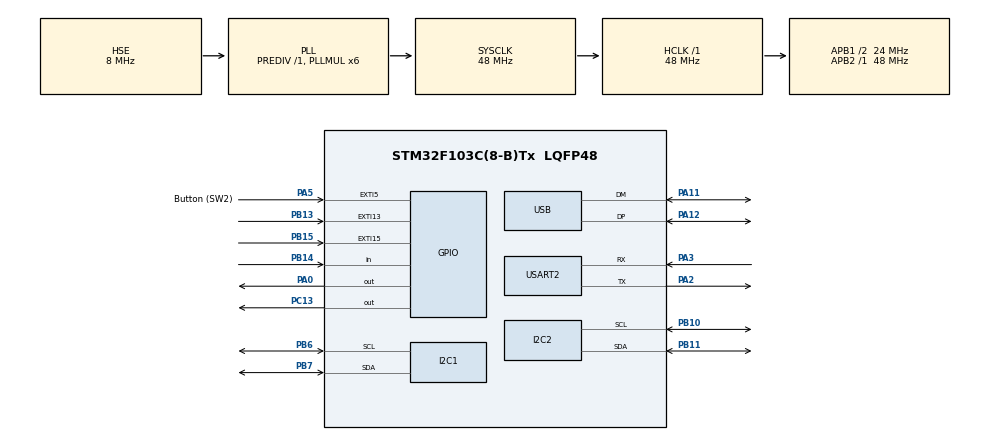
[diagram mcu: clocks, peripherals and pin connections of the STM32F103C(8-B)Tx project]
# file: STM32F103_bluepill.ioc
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Mcu.Family=STM32F1
Mcu.Name=STM32F103C(8-B)Tx
Mcu.Package=LQFP48
NVIC.EXTI15_10_IRQn=true\:0\:0\:false\:false\:true\:true\:true\:true
NVIC.EXTI9_5_IRQn=true\:0\:0\:false\:false\:true\:true\:true\:true
NVIC.PriorityGroup=NVIC_PRIORITYGROUP_4
NVIC.TIM2_IRQn=true\:0\:0\:false\:false\:true\:true\:true\:true
NVIC.TIM3_IRQn=true\:0\:0\:false\:false\:true\:true\:true\:true
NVIC.USB_LP_CAN1_RX0_IRQn=true\:0\:0\:false\:false\:true\:false\:true\:true
PA0-WKUP.Signal=GPIO_Output
PA11.Mode=Device
PA11.Signal=USB_DM
PA12.Mode=Device
PA12.Signal=USB_DP
PA2.Mode=Asynchronous
PA2.Signal=USART2_TX
PA3.Mode=Asynchronous
PA3.Signal=USART2_RX
PA5.GPIO_Label=Button (SW2)
PA5.GPIO_ModeDefaultEXTI=GPIO_MODE_IT_FALLING
PA5.Signal=GPXTI5
PB10.Mode=I2C
PB10.Signal=I2C2_SCL
PB11.Mode=I2C
PB11.Signal=I2C2_SDA
PB13.Signal=GPXTI13
PB14.Signal=GPIO_Input
PB15.Signal=GPXTI15
PB6.Mode=I2C
PB6.Signal=I2C1_SCL
PB7.Mode=I2C
PB7.Signal=I2C1_SDA
PC13-TAMPER-RTC.Signal=GPIO_Output
PD0-OSC_IN.Mode=HSE-External-Oscillator
PD0-OSC_IN.Signal=RCC_OSC_IN
PD1-OSC_OUT.Mode=HSE-External-Oscillator
PD1-OSC_OUT.Signal=RCC_OSC_OUT
ProjectManager.HeapSize=0x200
ProjectManager.StackSize=0x400
ProjectManager.TargetToolchain=STM32CubeIDE
RCC.AHBFreq_Value=48000000
RCC.APB1CLKDivider=RCC_HCLK_DIV2
RCC.APB1Freq_Value=24000000
RCC.APB1TimFreq_Value=48000000
RCC.APB2Freq_Value=48000000
RCC.APB2TimFreq_Value=48000000
RCC.HCLKFreq_Value=48000000
RCC.PLLMUL=RCC_PLL_MUL6
RCC.PLLSourceVirtual=RCC_PLLSOURCE_HSE
RCC.SYSCLKFreq_VALUE=48000000
RCC.SYSCLKSource=RCC_SYSCLKSOURCE_PLLCLK
RCC.USBFreq_Value=48000000
TIM2.AutoReloadPreload=TIM_AUTORELOAD_PRELOAD_ENABLE
TIM2.Period=1000
TIM2.Prescaler=24000
TIM3.AutoReloadPreload=TIM_AUTORELOAD_PRELOAD_ENABLE
TIM3.Period=10000
TIM3.Prescaler=47994
USART2.VirtualMode=VM_ASYNC
USB_DEVICE.CLASS_NAME_FS=CDC
USB_DEVICE.VirtualMode=Cdc
USB_DEVICE.VirtualModeFS=Cdc_FS
VP_SYS_VS_ND.Mode=No_Debug
VP_TIM2_VS_ClockSourceINT.Mode=Internal
VP_TIM3_VS_ClockSourceINT.Mode=Internal
VP_USB_DEVICE_VS_USB_DEVICE_CDC_FS.Mode=CDC_FS
board=custom

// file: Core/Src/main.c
/* USER CODE BEGIN Header */
/**
  ******************************************************************************
  * @file           : main.c
  * @brief          : Main program body
  ******************************************************************************
  * @attention
  *
  * Copyright (c) 2023 STMicroelectronics.
  * All rights reserved.
  *
  * This software is licensed under terms that can be found in the LICENSE file
  * in the root directory of this software component.
  * If no LICENSE file comes with this software, it is provided AS-IS.
  *
  ******************************************************************************
  */
/* USER CODE END Header */
#include "main.h"
#include "usb_device.h"

/* USER CODE BEGIN Includes */
#include "usbd_cdc_if.h"
#include "MK3_configuration.h"
#include "MS5637.h"
#include "ssd1306.h"
#include "custom_UI.h"
#include "calibrate.h"

/* USER CODE END Includes */

I2C_HandleTypeDef hi2c1;
I2C_HandleTypeDef hi2c2;

TIM_HandleTypeDef htim2;
TIM_HandleTypeDef htim3;

UART_HandleTypeDef huart2;

void SystemClock_Config(void);
static void MX_GPIO_Init(void);
static void MX_I2C1_Init(void);
static void MX_USART2_UART_Init(void);
static void MX_I2C2_Init(void);
static void MX_TIM2_Init(void);
static void MX_TIM3_Init(void);

/* USER CODE BEGIN 0 */
enum state current_state = Display;
enum state previous_state = Display;
char graph_title[5] = "DEF:";

uint8_t menu_cursor_placement = 1;
uint8_t D1_RES_INDEX = 0;
uint8_t D2_RES_INDEX = 0;
uint8_t USB_EN = 1;
uint32_t mean_pressure = 0;

/* USER CODE END 0 */

int main(void)
{

  /* MCU Configuration--------------------------------------------------------*/

  /* Reset of all peripherals, Initializes the Flash interface and the Systick. */
  HAL_Init();

  /* Configure the system clock */
  SystemClock_Config();

  /* Initialize all configured peripherals */
  MX_GPIO_Init();
  MX_USB_DEVICE_Init();
  MX_I2C1_Init();
  MX_USART2_UART_Init();
  MX_I2C2_Init();
  MX_TIM2_Init();
  MX_TIM3_Init();
  /* USER CODE BEGIN 2 */
  TIM2->CR1 = 1;

  ssd1306_Init();
  MS5637_SETUP(&hi2c1, 5, 5);

  int32_t pressure;
  int32_t temperature;

  int32_t amb_pressure;
  int32_t amb_temperature;

  pressure = MS5637_GET_PRESSURE(&hi2c1);
  temperature = MS5637_GET_TEMPERATURE(&hi2c1);

  uint32_t OLED_data[2][GRAPH_SIZE];
  setup_std_graph(graph_title);

  for(int8_t i = 0; i < GRAPH_SIZE; i++){
  	  OLED_data[0][i] = i*5;
  	  OLED_data[1][i] = 0;
  	  mean_pressure += MS5637_GET_PRESSURE(&hi2c1);
    }

  mean_pressure = mean_pressure/GRAPH_SIZE;

  /* USER CODE END 2 */

  /* Infinite loop */
  while (1)
  {

    /* USER CODE BEGIN 3 */

	  switch(current_state){
	  	  case Display:
	  		  for(int8_t i = (GRAPH_SIZE-1) ; i > 0 ; i--){
	  			  OLED_data[1][i] = OLED_data[1][i-1];
	  		  	  }
	  		  	  temperature = MS5637_GET_TEMPERATURE(&hi2c1);
	  		  	  pressure = MS5637_GET_PRESSURE(&hi2c1);
	  		  	  //OLED_data[1][0] = ((pressure-GRAPH_VALUE_OFFSET)*(Y_AXIS_LINE_Y2-Y_AXIS_LINE_Y1))/(MAX_PRESSURE-MIN_PRESSURE);
	  		  	  //OLED_data[1][0] = (pressure*(Y_AXIS_LINE_Y2-Y_AXIS_LINE_Y1))/(MAX_PRESSURE-MIN_PRESSURE);
	  		  	  OLED_data[1][0] = pressure-mean_pressure;
	  		  	  update_graph(20, OLED_data, OLED_data[1][0]);///10);

	  		  	  if(USB_EN){

	  		  		  char USB_data[9];
	  		  		  itoa(pressure, USB_data, 10);

	  		  		  USB_data[6] = (char)'\r';
	  		  		  USB_data[7] = (char)'\n';
	  		  		  USB_data[8] = (char)'\0';

	  		  		  CDC_Transmit_FS((uint8_t*)USB_data, sizeof(USB_data));

	  		  	  }

	  		  	break;

	  	  case Send_USB:	//NOTE: Make this shit into a function

	  		  	  MS5637_STREAM_USB(&hi2c1, &hi2c2, D1_RES_INDEX);

	  		  	break;

	  	  case Menu:

	  		  	break;
	  	  case Return_from_menu:	//Updates the mean_pressure of the sensor every time the you exit menu
	  		mean_pressure = 0;
	  	    for(uint8_t i = 0; i < GRAPH_SIZE; i++){
	  	    	mean_pressure += MS5637_GET_PRESSURE(&hi2c1);
	  	    }
	  	    mean_pressure = mean_pressure/GRAPH_SIZE;
	  	    current_state = previous_state;
	  	    	break;

	  }

  }
  /* USER CODE END 3 */
}

void SystemClock_Config(void)
{
  RCC_OscInitTypeDef RCC_OscInitStruct = {0};
  RCC_ClkInitTypeDef RCC_ClkInitStruct = {0};
  RCC_PeriphCLKInitTypeDef PeriphClkInit = {0};

  /** Initializes the RCC Oscillators according to the specified parameters
  * in the RCC_OscInitTypeDef structure.
  */
  RCC_OscInitStruct.OscillatorType = RCC_OSCILLATORTYPE_HSE;
  RCC_OscInitStruct.HSEState = RCC_HSE_ON;
  RCC_OscInitStruct.HSEPredivValue = RCC_HSE_PREDIV_DIV1;
  RCC_OscInitStruct.HSIState = RCC_HSI_ON;
  RCC_OscInitStruct.PLL.PLLState = RCC_PLL_ON;
  RCC_OscInitStruct.PLL.PLLSource = RCC_PLLSOURCE_HSE;
  RCC_OscInitStruct.PLL.PLLMUL = RCC_PLL_MUL6;
  if (HAL_RCC_OscConfig(&RCC_OscInitStruct) != HAL_OK)
  {
    Error_Handler();
  }

  /** Initializes the CPU, AHB and APB buses clocks
  */
  RCC_ClkInitStruct.ClockType = RCC_CLOCKTYPE_HCLK|RCC_CLOCKTYPE_SYSCLK
                              |RCC_CLOCKTYPE_PCLK1|RCC_CLOCKTYPE_PCLK2;
  RCC_ClkInitStruct.SYSCLKSource = RCC_SYSCLKSOURCE_PLLCLK;
  RCC_ClkInitStruct.AHBCLKDivider = RCC_SYSCLK_DIV1;
  RCC_ClkInitStruct.APB1CLKDivider = RCC_HCLK_DIV2;
  RCC_ClkInitStruct.APB2CLKDivider = RCC_HCLK_DIV1;

  if (HAL_RCC_ClockConfig(&RCC_ClkInitStruct, FLASH_LATENCY_1) != HAL_OK)
  {
    Error_Handler();
  }
  PeriphClkInit.PeriphClockSelection = RCC_PERIPHCLK_USB;
  PeriphClkInit.UsbClockSelection = RCC_USBCLKSOURCE_PLL;
  if (HAL_RCCEx_PeriphCLKConfig(&PeriphClkInit) != HAL_OK)
  {
    Error_Handler();
  }
}

static void MX_I2C1_Init(void)
{

  hi2c1.Instance = I2C1;
  hi2c1.Init.ClockSpeed = 100000;
  hi2c1.Init.DutyCycle = I2C_DUTYCYCLE_2;
  hi2c1.Init.OwnAddress1 = 0;
  hi2c1.Init.AddressingMode = I2C_ADDRESSINGMODE_7BIT;
  hi2c1.Init.DualAddressMode = I2C_DUALADDRESS_DISABLE;
  hi2c1.Init.OwnAddress2 = 0;
  hi2c1.Init.GeneralCallMode = I2C_GENERALCALL_DISABLE;
  hi2c1.Init.NoStretchMode = I2C_NOSTRETCH_DISABLE;
  if (HAL_I2C_Init(&hi2c1) != HAL_OK)
  {
    Error_Handler();
  }

}

static void MX_I2C2_Init(void)
{

  hi2c2.Instance = I2C2;
  hi2c2.Init.ClockSpeed = 100000;
  hi2c2.Init.DutyCycle = I2C_DUTYCYCLE_2;
  hi2c2.Init.OwnAddress1 = 0;
  hi2c2.Init.AddressingMode = I2C_ADDRESSINGMODE_7BIT;
  hi2c2.Init.DualAddressMode = I2C_DUALADDRESS_DISABLE;
  hi2c2.Init.OwnAddress2 = 0;
  hi2c2.Init.GeneralCallMode = I2C_GENERALCALL_DISABLE;
  hi2c2.Init.NoStretchMode = I2C_NOSTRETCH_DISABLE;
  if (HAL_I2C_Init(&hi2c2) != HAL_OK)
  {
    Error_Handler();
  }

}

static void MX_TIM2_Init(void)
{

  TIM_ClockConfigTypeDef sClockSourceConfig = {0};
  TIM_MasterConfigTypeDef sMasterConfig = {0};

  htim2.Instance = TIM2;
  htim2.Init.Prescaler = 24000;
  htim2.Init.CounterMode = TIM_COUNTERMODE_UP;
  htim2.Init.Period = 1000;
  htim2.Init.ClockDivision = TIM_CLOCKDIVISION_DIV1;
  htim2.Init.AutoReloadPreload = TIM_AUTORELOAD_PRELOAD_ENABLE;
  if (HAL_TIM_Base_Init(&htim2) != HAL_OK)
  {
    Error_Handler();
  }
  sClockSourceConfig.ClockSource = TIM_CLOCKSOURCE_INTERNAL;
  if (HAL_TIM_ConfigClockSource(&htim2, &sClockSourceConfig) != HAL_OK)
  {
    Error_Handler();
  }
  sMasterConfig.MasterOutputTrigger = TIM_TRGO_RESET;
  sMasterConfig.MasterSlaveMode = TIM_MASTERSLAVEMODE_DISABLE;
  if (HAL_TIMEx_MasterConfigSynchronization(&htim2, &sMasterConfig) != HAL_OK)
  {
    Error_Handler();
  }

}

static void MX_TIM3_Init(void)
{

  TIM_ClockConfigTypeDef sClockSourceConfig = {0};
  TIM_MasterConfigTypeDef sMasterConfig = {0};

  htim3.Instance = TIM3;
  htim3.Init.Prescaler = 47994;
  htim3.Init.CounterMode = TIM_COUNTERMODE_UP;
  htim3.Init.Period = 10000;
  htim3.Init.ClockDivision = TIM_CLOCKDIVISION_DIV1;
  htim3.Init.AutoReloadPreload = TIM_AUTORELOAD_PRELOAD_ENABLE;
  if (HAL_TIM_Base_Init(&htim3) != HAL_OK)
  {
    Error_Handler();
  }
  sClockSourceConfig.ClockSource = TIM_CLOCKSOURCE_INTERNAL;
  if (HAL_TIM_ConfigClockSource(&htim3, &sClockSourceConfig) != HAL_OK)
  {
    Error_Handler();
  }
  sMasterConfig.MasterOutputTrigger = TIM_TRGO_RESET;
  sMasterConfig.MasterSlaveMode = TIM_MASTERSLAVEMODE_DISABLE;
  if (HAL_TIMEx_MasterConfigSynchronization(&htim3, &sMasterConfig) != HAL_OK)
  {
    Error_Handler();
  }

}

static void MX_USART2_UART_Init(void)
{

  huart2.Instance = USART2;
  huart2.Init.BaudRate = 115200;
  huart2.Init.WordLength = UART_WORDLENGTH_8B;
  huart2.Init.StopBits = UART_STOPBITS_1;
  huart2.Init.Parity = UART_PARITY_NONE;
  huart2.Init.Mode = UART_MODE_TX_RX;
  huart2.Init.HwFlowCtl = UART_HWCONTROL_NONE;
  huart2.Init.OverSampling = UART_OVERSAMPLING_16;
  if (HAL_UART_Init(&huart2) != HAL_OK)
  {
    Error_Handler();
  }

}

static void MX_GPIO_Init(void)
{
  GPIO_InitTypeDef GPIO_InitStruct = {0};

  /* GPIO Ports Clock Enable */
  __HAL_RCC_GPIOC_CLK_ENABLE();
  __HAL_RCC_GPIOD_CLK_ENABLE();
  __HAL_RCC_GPIOA_CLK_ENABLE();
  __HAL_RCC_GPIOB_CLK_ENABLE();

  /*Configure GPIO pin Output Level */
  HAL_GPIO_WritePin(GPIOC, GPIO_PIN_13, GPIO_PIN_RESET);

  /*Configure GPIO pin Output Level */
  HAL_GPIO_WritePin(GPIOA, GPIO_PIN_0, GPIO_PIN_RESET);

  /*Configure GPIO pin : PC13 */
  GPIO_InitStruct.Pin = GPIO_PIN_13;
  GPIO_InitStruct.Mode = GPIO_MODE_OUTPUT_PP;
  GPIO_InitStruct.Pull = GPIO_NOPULL;
  GPIO_InitStruct.Speed = GPIO_SPEED_FREQ_LOW;
  HAL_GPIO_Init(GPIOC, &GPIO_InitStruct);

  /*Configure GPIO pin : PA0 */
  GPIO_InitStruct.Pin = GPIO_PIN_0;
  GPIO_InitStruct.Mode = GPIO_MODE_OUTPUT_PP;
  GPIO_InitStruct.Pull = GPIO_NOPULL;
  GPIO_InitStruct.Speed = GPIO_SPEED_FREQ_LOW;
  HAL_GPIO_Init(GPIOA, &GPIO_InitStruct);

  /*Configure GPIO pin : Button_Pin */
  GPIO_InitStruct.Pin = Button_Pin;
  GPIO_InitStruct.Mode = GPIO_MODE_IT_FALLING;
  GPIO_InitStruct.Pull = GPIO_NOPULL;
  HAL_GPIO_Init(Button_GPIO_Port, &GPIO_InitStruct);

  /*Configure GPIO pins : PB13 PB15 */
  GPIO_InitStruct.Pin = GPIO_PIN_13|GPIO_PIN_15;
  GPIO_InitStruct.Mode = GPIO_MODE_IT_RISING;
  GPIO_InitStruct.Pull = GPIO_NOPULL;
  HAL_GPIO_Init(GPIOB, &GPIO_InitStruct);

  /*Configure GPIO pin : PB14 */
  GPIO_InitStruct.Pin = GPIO_PIN_14;
  GPIO_InitStruct.Mode = GPIO_MODE_INPUT;
  GPIO_InitStruct.Pull = GPIO_NOPULL;
  HAL_GPIO_Init(GPIOB, &GPIO_InitStruct);

  /* EXTI interrupt init*/
  HAL_NVIC_SetPriority(EXTI9_5_IRQn, 0, 0);
  HAL_NVIC_EnableIRQ(EXTI9_5_IRQn);

  HAL_NVIC_SetPriority(EXTI15_10_IRQn, 0, 0);
  HAL_NVIC_EnableIRQ(EXTI15_10_IRQn);

}

/* USER CODE BEGIN 4 */

// EXTI Line9 External Interrupt ISR Handler CallBackFun
void HAL_GPIO_EXTI_Callback(uint16_t GPIO_Pin)
{
    if(GPIO_Pin == GPIO_PIN_5 && current_state != Menu){ // If The INT Source Is EXTI Line5 (A5 Pin)
    	previous_state = current_state;
    	setup_menu();
    	current_state = Menu;
    } else if(GPIO_Pin == GPIO_PIN_5 && previous_state == Display){

    	setup_std_graph(graph_title);
    	current_state = Return_from_menu;
    } else if(GPIO_Pin == GPIO_PIN_5 && previous_state == Send_USB){

    	display_USB_stream();				//Display USB streaming
    	current_state = Return_from_menu;	//Reset mean_pressure before switching to Send_USB state
    }

    if(GPIO_Pin == GPIO_PIN_13 && current_state == Menu){
    	HAL_TIM_Base_Start_IT(&htim2);
    }

    if(GPIO_Pin == GPIO_PIN_15  && current_state == Menu){
    	if(HAL_GPIO_ReadPin(GPIOB, GPIO_PIN_14)){
    		menu_cursor_placement--;
    	}else{
    		menu_cursor_placement++;
    	}
    	menu_scroll();
    }
}

//TIM2 Period elapsed
void HAL_TIM_PeriodElapsedCallback(TIM_HandleTypeDef* htim)
{
	if(htim == &htim2){
		if(menu_cursor_placement == 1 && D1_RES_INDEX < 5){
				D1_RES_INDEX++;		//Increment D indexes for MS5637
			    D2_RES_INDEX++;
			    menu_scroll();

		}else if(menu_cursor_placement == 1 && D1_RES_INDEX >= 5){
			D1_RES_INDEX = 0;	//Reset D indexes for MS5637 if overflow
		    D2_RES_INDEX = 0;
		    menu_scroll();

		}else if(menu_cursor_placement == 2){
			USB_EN ^= 1;	//Toggle USB_EN;
			menu_scroll();

		}else if(menu_cursor_placement == 3){
			display_USB_stream();
			HAL_TIM_Base_Start_IT(&htim3);		//Start timer
			current_state = Send_USB;

		}else if(menu_cursor_placement == 4){
			setup_std_graph(graph_title);
			current_state = Display;
		}

		HAL_TIM_Base_Stop_IT(&htim2);
	} else if(htim == &htim3 && current_state != Send_USB){	//If timer3 interrupt happens, turn off timer.
		//TIM3 is setup in .ioc, such that the interrupt is triggered after 5 seconds.
		//Meaning if nothing resets the counter for five sec, it will turn off.
		HAL_TIM_Base_Stop_IT(&htim3);
	}

}

/* USER CODE END 4 */

void Error_Handler(void)
{
  __disable_irq();
  while (1)
  {
  }
}
